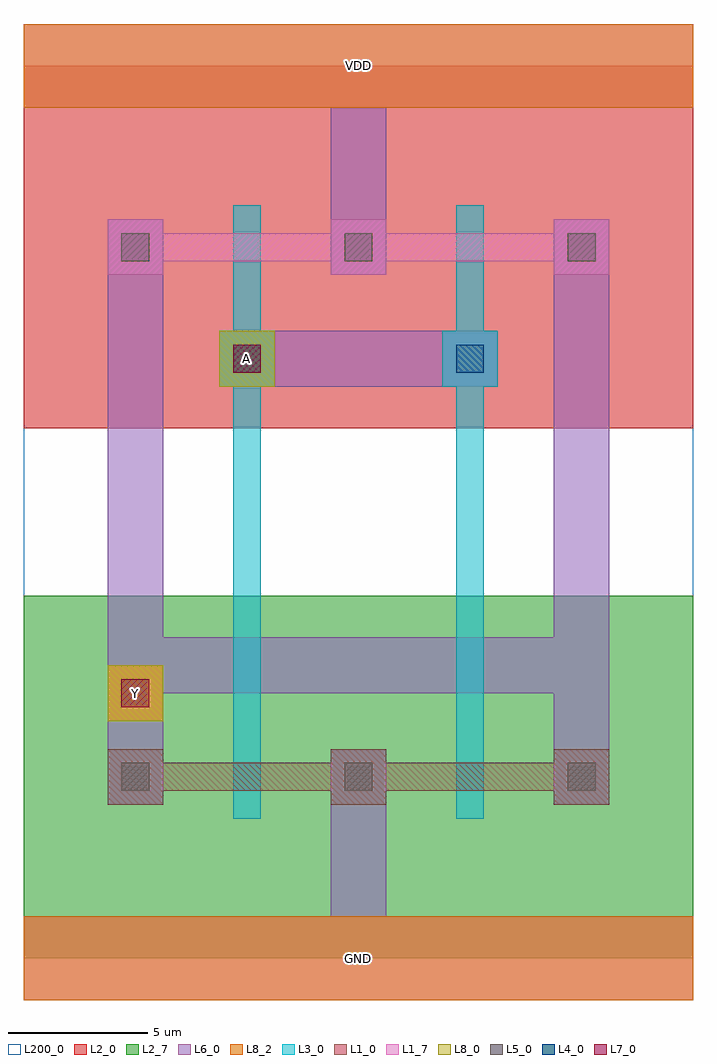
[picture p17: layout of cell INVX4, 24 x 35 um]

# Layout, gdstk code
import gdstk
lib = gdstk.Library(unit=1e-6, precision=1e-09)
def R(c, l, rs):  # rectangles x0, y0, x1, y1
    for r in rs: c.add(gdstk.rectangle(r[:2], r[2:], *l))
def A(c, l, x, y, w, h, nx, ny, dx, dy):  # array of equal rectangles
    R(c, l, [(x+i*dx, y+j*dy, x+i*dx+w, y+j*dy+h) for i in range(nx) for j in range(ny)])
def P(c, l, *ps):  # polygons
    for p in ps: c.add(gdstk.Polygon(p, *l))
L1_0 = (1, 0)
L1_7 = (1, 7)
L2_0 = (2, 0)
L2_7 = (2, 7)
L3_0 = (3, 0)
L4_0 = (4, 0)
L5_0 = (5, 0)
L6_0 = (6, 0)
L7_0 = (7, 0)
L8_0 = (8, 0)
L8_2 = (8, 2)
L200_0 = (200, 0)

invx4 = lib.new_cell('INVX4')
P(invx4, L1_0, [(3,5.5),(3,7.5),(5,7.5),(5,7),(11,7),(11,7.5),(13,7.5),(13,7),(19,7),(19,7.5),(21,7.5),(21,5.5),(19,5.5),(19,6),(13,6),(13,5.5),(11,5.5),(11,6),(5,6),(5,5.5)])
P(invx4, L1_7, [(3,24.5),(3,26.5),(5,26.5),(5,26),(11,26),(11,26.5),(13,26.5),(13,26),(19,26),(19,26.5),(21,26.5),(21,24.5),(19,24.5),(19,25),(13,25),(13,24.5),(11,24.5),(11,25),(5,25),(5,24.5)])
R(invx4, L2_0, [(0,19,24,32)])
R(invx4, L2_7, [(0,0,24,13)])
P(invx4, L3_0, [(7.5,5),(7.5,20.5),(7,20.5),(7,22.5),(7.5,22.5),(7.5,27),(8.5,27),(8.5,22.5),(9,22.5),(9,20.5),(8.5,20.5),(8.5,5)],
  [(15.5,5),(15.5,20.5),(15,20.5),(15,22.5),(15.5,22.5),(15.5,27),(16.5,27),(16.5,22.5),(17,22.5),(17,20.5),(16.5,20.5),(16.5,5)])
R(invx4, L4_0, [(7.5,21,8.5,22), (15.5,21,16.5,22)])
A(invx4, L5_0, 3.5, 6, 1, 1, 3, 2, 8, 19)
R(invx4, L6_0, [(7,20.5,17,22.5)])
P(invx4, L6_0, [(0,-1.5),(0,1.5),(11,1.5),(11,7.5),(13,7.5),(13,1.5),(24,1.5),(24,-1.5)],
  [(3,5.5),(3,26.5),(5,26.5),(5,11.5),(19,11.5),(19,26.5),(21,26.5),(21,5.5),(19,5.5),(19,9.5),(5,9.5),(5,5.5)],
  [(11,24.5),(11,30.5),(0,30.5),(0,33.5),(24,33.5),(24,30.5),(13,30.5),(13,24.5)])
R(invx4, L7_0, [(3.5,9,4.5,10), (7.5,21,8.5,22)])
R(invx4, L8_0, [(3,8.5,5,10.5), (7,20.5,9,22.5)])
R(invx4, L8_2, [(3,8.5,5,10.5), (7,20.5,9,22.5)])
R(invx4, L200_0, [(0,0,24,32)])
invx4.add(gdstk.FlexPath([(0,32),(24,32)], 3, ends="flush", simple_path=True, layer=8, datatype=2))  # L8_2
invx4.add(gdstk.FlexPath([(0,0),(24,0)], 3, ends="flush", simple_path=True, layer=8, datatype=2))  # L8_2
invx4.add(gdstk.Label('GND', (12,0), layer=6, texttype=1))
invx4.add(gdstk.Label('VDD', (12,32), layer=6, texttype=1))
invx4.add(gdstk.Label('A', (8,21.5), layer=8, texttype=1))
invx4.add(gdstk.Label('Y', (4,9.5), layer=8, texttype=1))

lib.write_gds('INVX4.gds')
